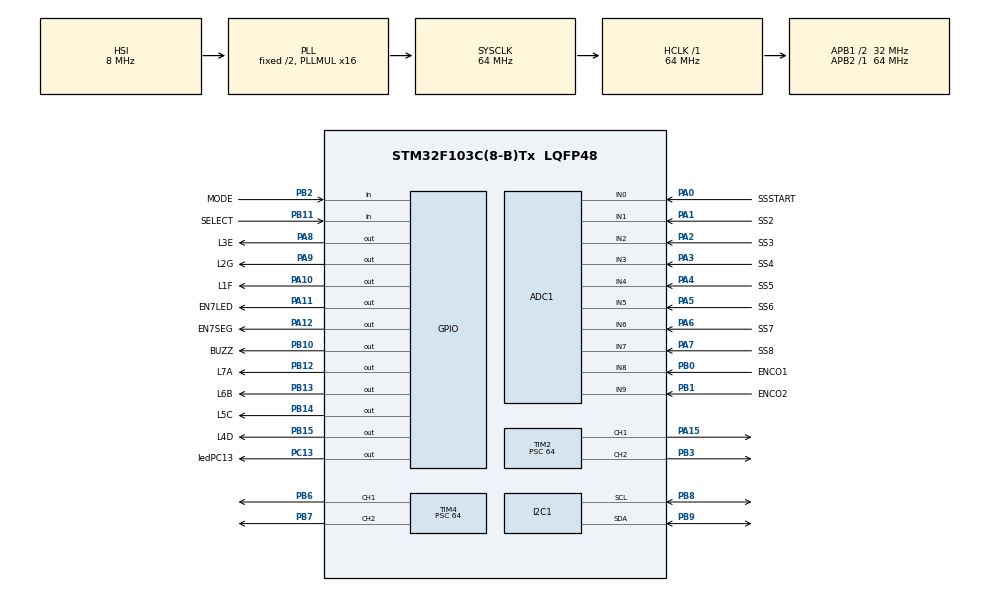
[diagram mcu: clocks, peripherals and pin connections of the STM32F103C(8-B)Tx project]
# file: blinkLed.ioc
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ADC1.Channel-0\#ChannelRegularConversion=ADC_CHANNEL_0
ADC1.Channel-1\#ChannelRegularConversion=ADC_CHANNEL_1
ADC1.Channel-2\#ChannelRegularConversion=ADC_CHANNEL_2
ADC1.Channel-3\#ChannelRegularConversion=ADC_CHANNEL_3
ADC1.Channel-4\#ChannelRegularConversion=ADC_CHANNEL_4
ADC1.Channel-5\#ChannelRegularConversion=ADC_CHANNEL_5
ADC1.Channel-6\#ChannelRegularConversion=ADC_CHANNEL_6
ADC1.Channel-7\#ChannelRegularConversion=ADC_CHANNEL_7
ADC1.Channel-8\#ChannelRegularConversion=ADC_CHANNEL_8
ADC1.Channel-9\#ChannelRegularConversion=ADC_CHANNEL_9
ADC1.NbrOfConversion=10
ADC1.NbrOfConversionFlag=1
ADC1.Rank-0\#ChannelRegularConversion=1
ADC1.Rank-1\#ChannelRegularConversion=2
ADC1.Rank-2\#ChannelRegularConversion=3
ADC1.Rank-3\#ChannelRegularConversion=4
ADC1.Rank-4\#ChannelRegularConversion=5
ADC1.Rank-5\#ChannelRegularConversion=6
ADC1.Rank-6\#ChannelRegularConversion=7
ADC1.Rank-7\#ChannelRegularConversion=8
ADC1.Rank-8\#ChannelRegularConversion=9
ADC1.Rank-9\#ChannelRegularConversion=10
ADC1.SamplingTime-0\#ChannelRegularConversion=ADC_SAMPLETIME_239CYCLES_5
ADC1.SamplingTime-1\#ChannelRegularConversion=ADC_SAMPLETIME_239CYCLES_5
ADC1.SamplingTime-2\#ChannelRegularConversion=ADC_SAMPLETIME_239CYCLES_5
ADC1.SamplingTime-3\#ChannelRegularConversion=ADC_SAMPLETIME_239CYCLES_5
ADC1.SamplingTime-4\#ChannelRegularConversion=ADC_SAMPLETIME_239CYCLES_5
ADC1.SamplingTime-5\#ChannelRegularConversion=ADC_SAMPLETIME_239CYCLES_5
ADC1.SamplingTime-6\#ChannelRegularConversion=ADC_SAMPLETIME_239CYCLES_5
ADC1.SamplingTime-7\#ChannelRegularConversion=ADC_SAMPLETIME_239CYCLES_5
ADC1.SamplingTime-8\#ChannelRegularConversion=ADC_SAMPLETIME_239CYCLES_5
ADC1.SamplingTime-9\#ChannelRegularConversion=ADC_SAMPLETIME_239CYCLES_5
ADC1.master=1
Dma.ADC1.0.Direction=DMA_PERIPH_TO_MEMORY
Dma.ADC1.0.Instance=DMA1_Channel1
Dma.ADC1.0.MemDataAlignment=DMA_MDATAALIGN_HALFWORD
Dma.ADC1.0.MemInc=DMA_MINC_ENABLE
Dma.ADC1.0.Mode=DMA_NORMAL
Dma.ADC1.0.PeriphDataAlignment=DMA_PDATAALIGN_HALFWORD
Dma.ADC1.0.PeriphInc=DMA_PINC_DISABLE
Dma.ADC1.0.Priority=DMA_PRIORITY_LOW
Dma.Request0=ADC1
FREERTOS.Tasks01=WriteGPIO_PWM,-2,128,Write_IO_PWM,Default,NULL,Dynamic,NULL,NULL;ReadAnalogSenso,-1,128,Read_Analog_Ssr,Default,NULL,Dynamic,NULL,NULL;ReadGyroSensor,-2,128,Read_Gyro_Ssr,Default,NULL,Dynamic,NULL,NULL
I2C1.OwnAddress=0x12
Mcu.Family=STM32F1
Mcu.Name=STM32F103C(8-B)Tx
Mcu.Package=LQFP48
NVIC.DMA1_Channel1_IRQn=true\:5\:0\:true\:false\:true\:true\:false\:true\:true
NVIC.I2C1_ER_IRQn=true\:5\:0\:false\:false\:true\:true\:true\:true\:true
NVIC.I2C1_EV_IRQn=true\:5\:0\:false\:false\:true\:true\:true\:true\:true
NVIC.PriorityGroup=NVIC_PRIORITYGROUP_4
NVIC.TIM3_IRQn=true\:15\:0\:false\:false\:true\:false\:false\:true\:true
NVIC.TimeBase=TIM3_IRQn
NVIC.TimeBaseIP=TIM3
PA0-WKUP.GPIO_Label=SSSTART
PA0-WKUP.Signal=ADCx_IN0
PA1.GPIO_Label=SS2
PA1.Signal=ADCx_IN1
PA10.GPIO_Label=L1F
PA10.Signal=GPIO_Output
PA11.GPIO_Label=EN7LED
PA11.GPIO_PuPd=GPIO_PULLDOWN
PA11.Signal=GPIO_Output
PA12.GPIO_Label=EN7SEG
PA12.GPIO_PuPd=GPIO_PULLDOWN
PA12.Signal=GPIO_Output
PA13.Mode=Serial_Wire
PA13.Signal=SYS_JTMS-SWDIO
PA14.Mode=Serial_Wire
PA14.Signal=SYS_JTCK-SWCLK
PA15.Signal=S_TIM2_CH1_ETR
PA2.GPIO_Label=SS3
PA2.Signal=ADCx_IN2
PA3.GPIO_Label=SS4
PA3.Signal=ADCx_IN3
PA4.GPIO_Label=SS5
PA4.Signal=ADCx_IN4
PA5.GPIO_Label=SS6
PA5.Signal=ADCx_IN5
PA6.GPIO_Label=SS7
PA6.Signal=ADCx_IN6
PA7.GPIO_Label=SS8
PA7.Signal=ADCx_IN7
PA8.GPIO_Label=L3E
PA8.Signal=GPIO_Output
PA9.GPIO_Label=L2G
PA9.Signal=GPIO_Output
PB0.GPIO_Label=ENCO1
PB0.Signal=ADCx_IN8
PB1.GPIO_Label=ENCO2
PB1.Signal=ADCx_IN9
PB10.GPIO_Label=BUZZ
PB10.Signal=GPIO_Output
PB11.GPIO_Label=SELECT
PB11.GPIO_PuPd=GPIO_PULLUP
PB11.Signal=GPIO_Input
PB12.GPIO_Label=L7A
PB12.Signal=GPIO_Output
PB13.GPIO_Label=L6B
PB13.Signal=GPIO_Output
PB14.GPIO_Label=L5C
PB14.Signal=GPIO_Output
PB15.GPIO_Label=L4D
PB15.Signal=GPIO_Output
PB2.GPIO_Label=MODE
PB2.GPIO_PuPd=GPIO_PULLUP
PB2.Signal=GPIO_Input
PB3.Signal=S_TIM2_CH2
PB6.Signal=S_TIM4_CH1
PB7.Signal=S_TIM4_CH2
PB8.Mode=I2C
PB8.Signal=I2C1_SCL
PB9.Mode=I2C
PB9.Signal=I2C1_SDA
PC13-TAMPER-RTC.GPIO_Label=ledPC13
PC13-TAMPER-RTC.Signal=GPIO_Output
ProjectManager.HeapSize=0x200
ProjectManager.StackSize=0x400
ProjectManager.TargetToolchain=MDK-ARM V5
RCC.AHBFreq_Value=64000000
RCC.APB1CLKDivider=RCC_HCLK_DIV2
RCC.APB1Freq_Value=32000000
RCC.APB1TimFreq_Value=64000000
RCC.APB2Freq_Value=64000000
RCC.APB2TimFreq_Value=64000000
RCC.HCLKFreq_Value=64000000
RCC.PLLMUL=RCC_PLL_MUL16
RCC.SYSCLKFreq_VALUE=64000000
RCC.SYSCLKSource=RCC_SYSCLKSOURCE_PLLCLK
RCC.USBFreq_Value=64000000
SH.ADCx_IN0.0=ADC1_IN0,IN0
SH.ADCx_IN1.0=ADC1_IN1,IN1
SH.ADCx_IN2.0=ADC1_IN2,IN2
SH.ADCx_IN3.0=ADC1_IN3,IN3
SH.ADCx_IN4.0=ADC1_IN4,IN4
SH.ADCx_IN5.0=ADC1_IN5,IN5
SH.ADCx_IN6.0=ADC1_IN6,IN6
SH.ADCx_IN7.0=ADC1_IN7,IN7
SH.ADCx_IN8.0=ADC1_IN8,IN8
SH.ADCx_IN9.0=ADC1_IN9,IN9
SH.S_TIM2_CH1_ETR.0=TIM2_CH1,PWM Generation1 CH1
SH.S_TIM2_CH2.0=TIM2_CH2,PWM Generation2 CH2
SH.S_TIM4_CH1.0=TIM4_CH1,PWM Generation1 CH1
SH.S_TIM4_CH2.0=TIM4_CH2,PWM Generation2 CH2
TIM2.Channel-PWM\ Generation1\ CH1=TIM_CHANNEL_1
TIM2.Channel-PWM\ Generation2\ CH2=TIM_CHANNEL_2
TIM2.Period=500
TIM2.Prescaler=64
TIM4.Channel-PWM\ Generation1\ CH1=TIM_CHANNEL_1
TIM4.Channel-PWM\ Generation2\ CH2=TIM_CHANNEL_2
TIM4.Period=500
TIM4.Prescaler=64
VP_FREERTOS_VS_CMSIS_V1.Mode=CMSIS_V1
VP_SYS_VS_tim3.Mode=TIM3
VP_TIM2_VS_ClockSourceINT.Mode=Internal
board=custom

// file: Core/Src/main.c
/* USER CODE BEGIN Header */
/**
  ******************************************************************************
  * @file           : main.c
  * @brief          : Main program body
  ******************************************************************************
  * @attention
  *
  * Copyright (c) 2025 STMicroelectronics.
  * All rights reserved.
  *
  * This software is licensed under terms that can be found in the LICENSE file
  * in the root directory of this software component.
  * If no LICENSE file comes with this software, it is provided AS-IS.
  *
  ******************************************************************************
  */
/* USER CODE END Header */
#include "main.h"
#include "cmsis_os.h"

/* USER CODE BEGIN Includes */
#include "led.h"
#include "giga_func.h"
#include "i2c_slave.h"
/* USER CODE END Includes */

ADC_HandleTypeDef hadc1;
DMA_HandleTypeDef hdma_adc1;

I2C_HandleTypeDef hi2c1;

TIM_HandleTypeDef htim2;
TIM_HandleTypeDef htim4;

osThreadId WriteGPIO_PWMHandle;
osThreadId ReadAnalogSensoHandle;
osThreadId ReadGyroSensorHandle;
/* USER CODE BEGIN PV */

#define STOP_CAR 0
#define RUN_CAR 1

volatile uint16_t analog_val[10];
uint8_t but_mode = 0;
uint8_t but_select = 0;
uint8_t cnt_mode = 0;
uint8_t cnt_select = 0;
uint8_t start_car = 0;

		uint8_t data_gyro[6];
		volatile int16_t x_gyro;
		volatile int16_t y_gyro;
		volatile int16_t z_gyro;

/*
void bzEnable(void);
void mForward(void);
void mBackward(void);
void mStop(void);
void mLeft(void);
void mRight(void);
void loop_7seg(void);
*/

/* USER CODE END PV */

void SystemClock_Config(void);
static void MX_GPIO_Init(void);
static void MX_DMA_Init(void);
static void MX_TIM2_Init(void);
static void MX_TIM4_Init(void);
static void MX_I2C1_Init(void);
static void MX_ADC1_Init(void);
void Write_IO_PWM(void const * argument);
void Read_Analog_Ssr(void const * argument);
void Read_Gyro_Ssr(void const * argument);

int main(void)
{

  /* MCU Configuration--------------------------------------------------------*/

  /* Reset of all peripherals, Initializes the Flash interface and the Systick. */
  HAL_Init();

  /* Configure the system clock */
  SystemClock_Config();

  /* Initialize all configured peripherals */
  MX_GPIO_Init();
  MX_DMA_Init();
  MX_TIM2_Init();
  MX_TIM4_Init();
  MX_I2C1_Init();
  MX_ADC1_Init();
  /* USER CODE BEGIN 2 */

	HAL_TIM_PWM_Start (&htim2, TIM_CHANNEL_1);
	HAL_TIM_PWM_Start (&htim2, TIM_CHANNEL_2);
	HAL_TIM_PWM_Start (&htim4, TIM_CHANNEL_1);
	HAL_TIM_PWM_Start (&htim4, TIM_CHANNEL_2);

	//if (HAL_I2C_EnableListen_IT(&hi2c1) != HAL_OK)
		//Error_Handler();

	/*
	HAL_StatusTypeDef ret = HAL_I2C_IsDeviceReady(&hi2c1, (0x68<<1) + 0, 1, 100);
	if (ret == HAL_OK)
		HAL_GPIO_WritePin(ledPC13_GPIO_Port, ledPC13_Pin, GPIO_PIN_SET);
	else HAL_GPIO_WritePin(ledPC13_GPIO_Port, ledPC13_Pin, GPIO_PIN_RESET);

	uint8_t temp_data = 0;
	ret = HAL_I2C_Mem_Write(&hi2c1, (0x68<<1) + 0, 27, 1, &temp_data, 1, 100);
	if (ret == HAL_OK) {
		HAL_Delay(200);
		HAL_GPIO_WritePin(ledPC13_GPIO_Port, ledPC13_Pin, GPIO_PIN_RESET);
		HAL_Delay(200);
		HAL_GPIO_WritePin(ledPC13_GPIO_Port, ledPC13_Pin, GPIO_PIN_SET);
		HAL_Delay(200);
		HAL_GPIO_WritePin(ledPC13_GPIO_Port, ledPC13_Pin, GPIO_PIN_RESET);
		HAL_Delay(200);
		HAL_GPIO_WritePin(ledPC13_GPIO_Port, ledPC13_Pin, GPIO_PIN_SET);
	}
	else HAL_GPIO_WritePin(ledPC13_GPIO_Port, ledPC13_Pin, GPIO_PIN_RESET);

	temp_data = 0;
	ret = HAL_I2C_Mem_Write(&hi2c1, (0x68<<1) + 0, 28, 1, &temp_data, 1, 100);
	if (ret == HAL_OK) {
		HAL_Delay(200);
		HAL_GPIO_WritePin(ledPC13_GPIO_Port, ledPC13_Pin, GPIO_PIN_RESET);
		HAL_Delay(200);
		HAL_GPIO_WritePin(ledPC13_GPIO_Port, ledPC13_Pin, GPIO_PIN_SET);
		HAL_Delay(200);
		HAL_GPIO_WritePin(ledPC13_GPIO_Port, ledPC13_Pin, GPIO_PIN_RESET);
		HAL_Delay(200);
		HAL_GPIO_WritePin(ledPC13_GPIO_Port, ledPC13_Pin, GPIO_PIN_SET);
	}
	else HAL_GPIO_WritePin(ledPC13_GPIO_Port, ledPC13_Pin, GPIO_PIN_RESET);

	temp_data = 0;
	ret = HAL_I2C_Mem_Write(&hi2c1, (0x68<<1) + 0, 107, 1, &temp_data, 1, 100);
	if (ret == HAL_OK) {
		HAL_Delay(200);
		HAL_GPIO_WritePin(ledPC13_GPIO_Port, ledPC13_Pin, GPIO_PIN_RESET);
		HAL_Delay(200);
		HAL_GPIO_WritePin(ledPC13_GPIO_Port, ledPC13_Pin, GPIO_PIN_SET);
		HAL_Delay(200);
		HAL_GPIO_WritePin(ledPC13_GPIO_Port, ledPC13_Pin, GPIO_PIN_RESET);
		HAL_Delay(200);
		HAL_GPIO_WritePin(ledPC13_GPIO_Port, ledPC13_Pin, GPIO_PIN_SET);
	}
	else HAL_GPIO_WritePin(ledPC13_GPIO_Port, ledPC13_Pin, GPIO_PIN_RESET);
	*/

	HAL_GPIO_WritePin(ledPC13_GPIO_Port, ledPC13_Pin, GPIO_PIN_SET);
	Show_7Seg(0);
	stop_motor();

  /* USER CODE END 2 */

  /* Create the thread(s) */
  /* definition and creation of WriteGPIO_PWM */
  osThreadDef(WriteGPIO_PWM, Write_IO_PWM, osPriorityLow, 0, 128);
  WriteGPIO_PWMHandle = osThreadCreate(osThread(WriteGPIO_PWM), NULL);

  /* definition and creation of ReadAnalogSenso */
  osThreadDef(ReadAnalogSenso, Read_Analog_Ssr, osPriorityBelowNormal, 0, 128);
  ReadAnalogSensoHandle = osThreadCreate(osThread(ReadAnalogSenso), NULL);

  /* definition and creation of ReadGyroSensor */
  osThreadDef(ReadGyroSensor, Read_Gyro_Ssr, osPriorityLow, 0, 128);
  ReadGyroSensorHandle = osThreadCreate(osThread(ReadGyroSensor), NULL);

  /* Start scheduler */
  osKernelStart();

  /* We should never get here as control is now taken by the scheduler */

  /* Infinite loop */
  while (1)
  {

    /* USER CODE BEGIN 3 */

		/*
		HAL_I2C_Mem_Read(&hi2c1, (0x68<<1) + 1, 67, 1, data_gyro, 6, 100);
		x_acc = ((int16_t)data_gyro[0] << 8) + data_gyro[1];
		y_acc = ((int16_t)data_gyro[2] << 8) + data_gyro[3];
		z_acc = ((int16_t)data_gyro[4] << 8) + data_gyro[5];
		HAL_Delay(10);
		*/

  }

  /* USER CODE END 3 */
}

void SystemClock_Config(void)
{
  RCC_OscInitTypeDef RCC_OscInitStruct = {0};
  RCC_ClkInitTypeDef RCC_ClkInitStruct = {0};
  RCC_PeriphCLKInitTypeDef PeriphClkInit = {0};

  /** Initializes the RCC Oscillators according to the specified parameters
  * in the RCC_OscInitTypeDef structure.
  */
  RCC_OscInitStruct.OscillatorType = RCC_OSCILLATORTYPE_HSI;
  RCC_OscInitStruct.HSIState = RCC_HSI_ON;
  RCC_OscInitStruct.HSICalibrationValue = RCC_HSICALIBRATION_DEFAULT;
  RCC_OscInitStruct.PLL.PLLState = RCC_PLL_ON;
  RCC_OscInitStruct.PLL.PLLSource = RCC_PLLSOURCE_HSI_DIV2;
  RCC_OscInitStruct.PLL.PLLMUL = RCC_PLL_MUL16;
  if (HAL_RCC_OscConfig(&RCC_OscInitStruct) != HAL_OK)
  {
    Error_Handler();
  }

  /** Initializes the CPU, AHB and APB buses clocks
  */
  RCC_ClkInitStruct.ClockType = RCC_CLOCKTYPE_HCLK|RCC_CLOCKTYPE_SYSCLK
                              |RCC_CLOCKTYPE_PCLK1|RCC_CLOCKTYPE_PCLK2;
  RCC_ClkInitStruct.SYSCLKSource = RCC_SYSCLKSOURCE_PLLCLK;
  RCC_ClkInitStruct.AHBCLKDivider = RCC_SYSCLK_DIV1;
  RCC_ClkInitStruct.APB1CLKDivider = RCC_HCLK_DIV2;
  RCC_ClkInitStruct.APB2CLKDivider = RCC_HCLK_DIV1;

  if (HAL_RCC_ClockConfig(&RCC_ClkInitStruct, FLASH_LATENCY_2) != HAL_OK)
  {
    Error_Handler();
  }
  PeriphClkInit.PeriphClockSelection = RCC_PERIPHCLK_ADC;
  PeriphClkInit.AdcClockSelection = RCC_ADCPCLK2_DIV2;
  if (HAL_RCCEx_PeriphCLKConfig(&PeriphClkInit) != HAL_OK)
  {
    Error_Handler();
  }
}

static void MX_ADC1_Init(void)
{

  ADC_ChannelConfTypeDef sConfig = {0};

  /** Common config
  */
  hadc1.Instance = ADC1;
  hadc1.Init.ScanConvMode = ADC_SCAN_ENABLE;
  hadc1.Init.ContinuousConvMode = DISABLE;
  hadc1.Init.DiscontinuousConvMode = DISABLE;
  hadc1.Init.ExternalTrigConv = ADC_SOFTWARE_START;
  hadc1.Init.DataAlign = ADC_DATAALIGN_RIGHT;
  hadc1.Init.NbrOfConversion = 10;
  if (HAL_ADC_Init(&hadc1) != HAL_OK)
  {
    Error_Handler();
  }

  /** Configure Regular Channel
  */
  sConfig.Channel = ADC_CHANNEL_0;
  sConfig.Rank = ADC_REGULAR_RANK_1;
  sConfig.SamplingTime = ADC_SAMPLETIME_239CYCLES_5;
  if (HAL_ADC_ConfigChannel(&hadc1, &sConfig) != HAL_OK)
  {
    Error_Handler();
  }

  /** Configure Regular Channel
  */
  sConfig.Channel = ADC_CHANNEL_1;
  sConfig.Rank = ADC_REGULAR_RANK_2;
  if (HAL_ADC_ConfigChannel(&hadc1, &sConfig) != HAL_OK)
  {
    Error_Handler();
  }

  /** Configure Regular Channel
  */
  sConfig.Channel = ADC_CHANNEL_2;
  sConfig.Rank = ADC_REGULAR_RANK_3;
  if (HAL_ADC_ConfigChannel(&hadc1, &sConfig) != HAL_OK)
  {
    Error_Handler();
  }

  /** Configure Regular Channel
  */
  sConfig.Channel = ADC_CHANNEL_3;
  sConfig.Rank = ADC_REGULAR_RANK_4;
  if (HAL_ADC_ConfigChannel(&hadc1, &sConfig) != HAL_OK)
  {
    Error_Handler();
  }

  /** Configure Regular Channel
  */
  sConfig.Channel = ADC_CHANNEL_4;
  sConfig.Rank = ADC_REGULAR_RANK_5;
  if (HAL_ADC_ConfigChannel(&hadc1, &sConfig) != HAL_OK)
  {
    Error_Handler();
  }

  /** Configure Regular Channel
  */
  sConfig.Channel = ADC_CHANNEL_5;
  sConfig.Rank = ADC_REGULAR_RANK_6;
  if (HAL_ADC_ConfigChannel(&hadc1, &sConfig) != HAL_OK)
  {
    Error_Handler();
  }

  /** Configure Regular Channel
  */
  sConfig.Channel = ADC_CHANNEL_6;
  sConfig.Rank = ADC_REGULAR_RANK_7;
  if (HAL_ADC_ConfigChannel(&hadc1, &sConfig) != HAL_OK)
  {
    Error_Handler();
  }

  /** Configure Regular Channel
  */
  sConfig.Channel = ADC_CHANNEL_7;
  sConfig.Rank = ADC_REGULAR_RANK_8;
  if (HAL_ADC_ConfigChannel(&hadc1, &sConfig) != HAL_OK)
  {
    Error_Handler();
  }

  /** Configure Regular Channel
  */
  sConfig.Channel = ADC_CHANNEL_8;
  sConfig.Rank = ADC_REGULAR_RANK_9;
  if (HAL_ADC_ConfigChannel(&hadc1, &sConfig) != HAL_OK)
  {
    Error_Handler();
  }

  /** Configure Regular Channel
  */
  sConfig.Channel = ADC_CHANNEL_9;
  sConfig.Rank = ADC_REGULAR_RANK_10;
  if (HAL_ADC_ConfigChannel(&hadc1, &sConfig) != HAL_OK)
  {
    Error_Handler();
  }

}

static void MX_I2C1_Init(void)
{

  hi2c1.Instance = I2C1;
  hi2c1.Init.ClockSpeed = 100000;
  hi2c1.Init.DutyCycle = I2C_DUTYCYCLE_2;
  hi2c1.Init.OwnAddress1 = 36;
  hi2c1.Init.AddressingMode = I2C_ADDRESSINGMODE_7BIT;
  hi2c1.Init.DualAddressMode = I2C_DUALADDRESS_DISABLE;
  hi2c1.Init.OwnAddress2 = 0;
  hi2c1.Init.GeneralCallMode = I2C_GENERALCALL_DISABLE;
  hi2c1.Init.NoStretchMode = I2C_NOSTRETCH_DISABLE;
  if (HAL_I2C_Init(&hi2c1) != HAL_OK)
  {
    Error_Handler();
  }

}

static void MX_TIM2_Init(void)
{

  TIM_ClockConfigTypeDef sClockSourceConfig = {0};
  TIM_MasterConfigTypeDef sMasterConfig = {0};
  TIM_OC_InitTypeDef sConfigOC = {0};

  htim2.Instance = TIM2;
  htim2.Init.Prescaler = 64;
  htim2.Init.CounterMode = TIM_COUNTERMODE_UP;
  htim2.Init.Period = 500;
  htim2.Init.ClockDivision = TIM_CLOCKDIVISION_DIV1;
  htim2.Init.AutoReloadPreload = TIM_AUTORELOAD_PRELOAD_DISABLE;
  if (HAL_TIM_Base_Init(&htim2) != HAL_OK)
  {
    Error_Handler();
  }
  sClockSourceConfig.ClockSource = TIM_CLOCKSOURCE_INTERNAL;
  if (HAL_TIM_ConfigClockSource(&htim2, &sClockSourceConfig) != HAL_OK)
  {
    Error_Handler();
  }
  if (HAL_TIM_PWM_Init(&htim2) != HAL_OK)
  {
    Error_Handler();
  }
  sMasterConfig.MasterOutputTrigger = TIM_TRGO_RESET;
  sMasterConfig.MasterSlaveMode = TIM_MASTERSLAVEMODE_DISABLE;
  if (HAL_TIMEx_MasterConfigSynchronization(&htim2, &sMasterConfig) != HAL_OK)
  {
    Error_Handler();
  }
  sConfigOC.OCMode = TIM_OCMODE_PWM1;
  sConfigOC.Pulse = 0;
  sConfigOC.OCPolarity = TIM_OCPOLARITY_HIGH;
  sConfigOC.OCFastMode = TIM_OCFAST_DISABLE;
  if (HAL_TIM_PWM_ConfigChannel(&htim2, &sConfigOC, TIM_CHANNEL_1) != HAL_OK)
  {
    Error_Handler();
  }
  if (HAL_TIM_PWM_ConfigChannel(&htim2, &sConfigOC, TIM_CHANNEL_2) != HAL_OK)
  {
    Error_Handler();
  }
  HAL_TIM_MspPostInit(&htim2);

}

static void MX_TIM4_Init(void)
{

  TIM_MasterConfigTypeDef sMasterConfig = {0};
  TIM_OC_InitTypeDef sConfigOC = {0};

  htim4.Instance = TIM4;
  htim4.Init.Prescaler = 64;
  htim4.Init.CounterMode = TIM_COUNTERMODE_UP;
  htim4.Init.Period = 500;
  htim4.Init.ClockDivision = TIM_CLOCKDIVISION_DIV1;
  htim4.Init.AutoReloadPreload = TIM_AUTORELOAD_PRELOAD_DISABLE;
  if (HAL_TIM_PWM_Init(&htim4) != HAL_OK)
  {
    Error_Handler();
  }
  sMasterConfig.MasterOutputTrigger = TIM_TRGO_RESET;
  sMasterConfig.MasterSlaveMode = TIM_MASTERSLAVEMODE_DISABLE;
  if (HAL_TIMEx_MasterConfigSynchronization(&htim4, &sMasterConfig) != HAL_OK)
  {
    Error_Handler();
  }
  sConfigOC.OCMode = TIM_OCMODE_PWM1;
  sConfigOC.Pulse = 0;
  sConfigOC.OCPolarity = TIM_OCPOLARITY_HIGH;
  sConfigOC.OCFastMode = TIM_OCFAST_DISABLE;
  if (HAL_TIM_PWM_ConfigChannel(&htim4, &sConfigOC, TIM_CHANNEL_1) != HAL_OK)
  {
    Error_Handler();
  }
  if (HAL_TIM_PWM_ConfigChannel(&htim4, &sConfigOC, TIM_CHANNEL_2) != HAL_OK)
  {
    Error_Handler();
  }
  HAL_TIM_MspPostInit(&htim4);

}

static void MX_DMA_Init(void)
{

  /* DMA controller clock enable */
  __HAL_RCC_DMA1_CLK_ENABLE();

  /* DMA interrupt init */
  /* DMA1_Channel1_IRQn interrupt configuration */
  HAL_NVIC_SetPriority(DMA1_Channel1_IRQn, 5, 0);
  HAL_NVIC_EnableIRQ(DMA1_Channel1_IRQn);

}

static void MX_GPIO_Init(void)
{
  GPIO_InitTypeDef GPIO_InitStruct = {0};

  /* GPIO Ports Clock Enable */
  __HAL_RCC_GPIOC_CLK_ENABLE();
  __HAL_RCC_GPIOA_CLK_ENABLE();
  __HAL_RCC_GPIOB_CLK_ENABLE();

  /*Configure GPIO pin Output Level */
  HAL_GPIO_WritePin(ledPC13_GPIO_Port, ledPC13_Pin, GPIO_PIN_RESET);

  /*Configure GPIO pin Output Level */
  HAL_GPIO_WritePin(GPIOB, BUZZ_Pin|L7A_Pin|L6B_Pin|L5C_Pin
                          |L4D_Pin, GPIO_PIN_RESET);

  /*Configure GPIO pin Output Level */
  HAL_GPIO_WritePin(GPIOA, L3E_Pin|L2G_Pin|L1F_Pin|EN7LED_Pin
                          |EN7SEG_Pin, GPIO_PIN_RESET);

  /*Configure GPIO pin : ledPC13_Pin */
  GPIO_InitStruct.Pin = ledPC13_Pin;
  GPIO_InitStruct.Mode = GPIO_MODE_OUTPUT_PP;
  GPIO_InitStruct.Pull = GPIO_NOPULL;
  GPIO_InitStruct.Speed = GPIO_SPEED_FREQ_LOW;
  HAL_GPIO_Init(ledPC13_GPIO_Port, &GPIO_InitStruct);

  /*Configure GPIO pins : MODE_Pin SELECT_Pin */
  GPIO_InitStruct.Pin = MODE_Pin|SELECT_Pin;
  GPIO_InitStruct.Mode = GPIO_MODE_INPUT;
  GPIO_InitStruct.Pull = GPIO_PULLUP;
  HAL_GPIO_Init(GPIOB, &GPIO_InitStruct);

  /*Configure GPIO pins : BUZZ_Pin L7A_Pin L6B_Pin L5C_Pin
                           L4D_Pin */
  GPIO_InitStruct.Pin = BUZZ_Pin|L7A_Pin|L6B_Pin|L5C_Pin
                          |L4D_Pin;
  GPIO_InitStruct.Mode = GPIO_MODE_OUTPUT_PP;
  GPIO_InitStruct.Pull = GPIO_NOPULL;
  GPIO_InitStruct.Speed = GPIO_SPEED_FREQ_LOW;
  HAL_GPIO_Init(GPIOB, &GPIO_InitStruct);

  /*Configure GPIO pins : L3E_Pin L2G_Pin L1F_Pin */
  GPIO_InitStruct.Pin = L3E_Pin|L2G_Pin|L1F_Pin;
  GPIO_InitStruct.Mode = GPIO_MODE_OUTPUT_PP;
  GPIO_InitStruct.Pull = GPIO_NOPULL;
  GPIO_InitStruct.Speed = GPIO_SPEED_FREQ_LOW;
  HAL_GPIO_Init(GPIOA, &GPIO_InitStruct);

  /*Configure GPIO pins : EN7LED_Pin EN7SEG_Pin */
  GPIO_InitStruct.Pin = EN7LED_Pin|EN7SEG_Pin;
  GPIO_InitStruct.Mode = GPIO_MODE_OUTPUT_PP;
  GPIO_InitStruct.Pull = GPIO_PULLDOWN;
  GPIO_InitStruct.Speed = GPIO_SPEED_FREQ_LOW;
  HAL_GPIO_Init(GPIOA, &GPIO_InitStruct);

}

/* USER CODE BEGIN 4 */

/*
void bzEnable(void) {
	bzState = 1;
	HAL_GPIO_WritePin(GPIOB, GPIO_PIN_10, bzState);
	bzTime = HAL_GetTick() + 100;
}

void loop_7seg(void) {
	if ((uint32_t)(HAL_GetTick() - led7Time) > 100) {
		led7Time = HAL_GetTick();
		Show_1Seg(counter);
		counter++;
		if (counter >= 7)
			counter = 1;
	}
}

void mRight(void) {
	TIM2 ->CCR1 = 500;
	TIM2 ->CCR2 = 0;
	TIM4 ->CCR1 = 0;
	TIM4 ->CCR2 = 500;
}

void mLeft(void) {
	TIM2 ->CCR1 = 0;
	TIM2 ->CCR2 = 500;
	TIM4 ->CCR1 = 500;
	TIM4 ->CCR2 = 0;
}

void mStop(void) {
	TIM2 ->CCR1 = 0;
	TIM2 ->CCR2 = 0;
	TIM4 ->CCR1 = 0;
	TIM4 ->CCR2 = 0;
}

void mForward(void) {
	TIM2 ->CCR1 = 500;
	TIM2 ->CCR2 = 0;
	TIM4 ->CCR1 = 500;
	TIM4 ->CCR2 = 0;
}

void mBackward(void) {
	TIM2 ->CCR1 = 0;
	TIM2 ->CCR2 = 500;
	TIM4 ->CCR1 = 0;
	TIM4 ->CCR2 = 500;
}
*/

/* USER CODE END 4 */

void Write_IO_PWM(void const * argument)
{
  /* USER CODE BEGIN 5 */
  /* Infinite loop */
  for(;;)
  {
		if (analog_val[5] <= 1000)
			start_car = RUN_CAR;
    osDelay(1);
  }
  /* USER CODE END 5 */
}

void Read_Analog_Ssr(void const * argument)
{
  /* USER CODE BEGIN Read_Analog_Ssr */
  /* Infinite loop */
  for(;;)
  {
		HAL_ADC_Start_DMA(&hadc1, (uint32_t*)analog_val, 10);
    osDelay(1);
  }
  /* USER CODE END Read_Analog_Ssr */
}

void Read_Gyro_Ssr(void const * argument)
{
  /* USER CODE BEGIN Read_Gyro_Ssr */
  /* Infinite loop */
  for(;;)
  {
		read_button();
		if (cnt_select > 1 && cnt_select % 2 == 0) {
			loop_7seg();
			operating_mode();
		}
    osDelay(1);
  }
  /* USER CODE END Read_Gyro_Ssr */
}

void HAL_TIM_PeriodElapsedCallback(TIM_HandleTypeDef *htim)
{
  if (htim->Instance == TIM3) {
    HAL_IncTick();
  }
}

void Error_Handler(void)
{
  __disable_irq();
  while (1)
  {
  }
}
